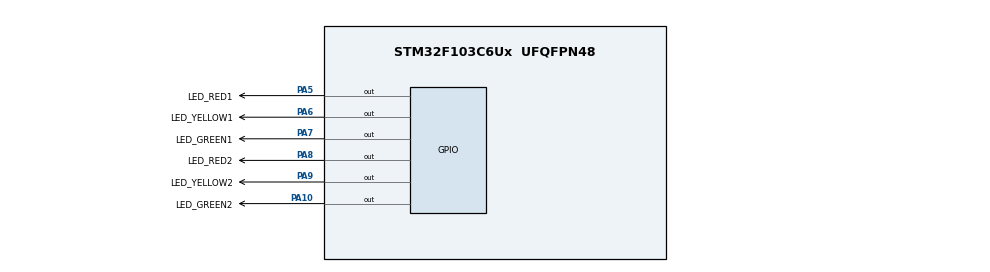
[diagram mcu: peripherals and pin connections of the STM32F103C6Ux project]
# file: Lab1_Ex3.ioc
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Mcu.Family=STM32F1
Mcu.Name=STM32F103C6Ux
Mcu.Package=UFQFPN48
NVIC.PriorityGroup=NVIC_PRIORITYGROUP_4
PA10.GPIO_Label=LED_GREEN2
PA10.PinState=GPIO_PIN_RESET
PA10.Signal=GPIO_Output
PA5.GPIO_Label=LED_RED1
PA5.PinState=GPIO_PIN_RESET
PA5.Signal=GPIO_Output
PA6.GPIO_Label=LED_YELLOW1
PA6.PinState=GPIO_PIN_RESET
PA6.Signal=GPIO_Output
PA7.GPIO_Label=LED_GREEN1
PA7.PinState=GPIO_PIN_RESET
PA7.Signal=GPIO_Output
PA8.GPIO_Label=LED_RED2
PA8.PinState=GPIO_PIN_RESET
PA8.Signal=GPIO_Output
PA9.GPIO_Label=LED_YELLOW2
PA9.PinState=GPIO_PIN_RESET
PA9.Signal=GPIO_Output
ProjectManager.HeapSize=0x200
ProjectManager.StackSize=0x400
ProjectManager.TargetToolchain=STM32CubeIDE
RCC.APB1Freq_Value=8000000
RCC.APB2Freq_Value=8000000
VP_SYS_VS_ND.Mode=No_Debug
board=custom

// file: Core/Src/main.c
/* USER CODE BEGIN Header */
/**
  ******************************************************************************
  * @file           : main.c
  * @brief          : Main program body
  ******************************************************************************
  * @attention
  *
  * <h2><center>&copy; Copyright (c) 2025 STMicroelectronics.
  * All rights reserved.</center></h2>
  *
  * This software component is licensed by ST under BSD 3-Clause license,
  * the "License"; You may not use this file except in compliance with the
  * License. You may obtain a copy of the License at:
  *                        opensource.org/licenses/BSD-3-Clause
  *
  ******************************************************************************
  */
/* USER CODE END Header */
#include "main.h"

void SystemClock_Config(void);
static void MX_GPIO_Init(void);

int main(void)
{

  /* MCU Configuration--------------------------------------------------------*/

  /* Reset of all peripherals, Initializes the Flash interface and the Systick. */
  HAL_Init();

  /* Configure the system clock */
  SystemClock_Config();

  /* Initialize all configured peripherals */
  MX_GPIO_Init();

  /* Infinite loop */
  /* USER CODE BEGIN WHILE */
  while (1)
  {

	  HAL_GPIO_WritePin(LED_RED1_GPIO_Port, LED_RED1_Pin, GPIO_PIN_RESET);
	  HAL_GPIO_WritePin(LED_YELLOW1_GPIO_Port, LED_YELLOW1_Pin, GPIO_PIN_SET);
	  HAL_GPIO_WritePin(LED_GREEN1_GPIO_Port, LED_GREEN1_Pin, GPIO_PIN_SET);
	  HAL_GPIO_WritePin(LED_YELLOW2_GPIO_Port, LED_YELLOW2_Pin, GPIO_PIN_SET);
	  HAL_GPIO_WritePin(LED_RED2_GPIO_Port, LED_RED2_Pin, GPIO_PIN_SET);
	  HAL_GPIO_WritePin(LED_GREEN2_GPIO_Port, LED_GREEN2_Pin, GPIO_PIN_RESET);

	  HAL_Delay(2000);

	  HAL_GPIO_TogglePin(LED_GREEN2_GPIO_Port, LED_GREEN2_Pin);
	  HAL_GPIO_TogglePin(LED_YELLOW2_GPIO_Port, LED_YELLOW2_Pin);

	  HAL_Delay(3000);

	  HAL_GPIO_TogglePin(LED_YELLOW2_GPIO_Port, LED_YELLOW2_Pin);
	  HAL_GPIO_TogglePin(LED_RED1_GPIO_Port, LED_RED1_Pin);
	  HAL_GPIO_TogglePin(LED_RED2_GPIO_Port, LED_RED2_Pin);
	  HAL_GPIO_TogglePin(LED_GREEN1_GPIO_Port, LED_GREEN1_Pin);

	  HAL_Delay(2000);

	  HAL_GPIO_TogglePin(LED_GREEN1_GPIO_Port, LED_GREEN1_Pin);
	  HAL_GPIO_TogglePin(LED_YELLOW1_GPIO_Port, LED_YELLOW1_Pin);

	  HAL_Delay(3000);

    /* USER CODE END WHILE */

  }
}

void SystemClock_Config(void)
{
  RCC_OscInitTypeDef RCC_OscInitStruct = {0};
  RCC_ClkInitTypeDef RCC_ClkInitStruct = {0};

  /** Initializes the RCC Oscillators according to the specified parameters
  * in the RCC_OscInitTypeDef structure.
  */
  RCC_OscInitStruct.OscillatorType = RCC_OSCILLATORTYPE_HSI;
  RCC_OscInitStruct.HSIState = RCC_HSI_ON;
  RCC_OscInitStruct.HSICalibrationValue = RCC_HSICALIBRATION_DEFAULT;
  RCC_OscInitStruct.PLL.PLLState = RCC_PLL_NONE;
  if (HAL_RCC_OscConfig(&RCC_OscInitStruct) != HAL_OK)
  {
    Error_Handler();
  }
  /** Initializes the CPU, AHB and APB buses clocks
  */
  RCC_ClkInitStruct.ClockType = RCC_CLOCKTYPE_HCLK|RCC_CLOCKTYPE_SYSCLK
                              |RCC_CLOCKTYPE_PCLK1|RCC_CLOCKTYPE_PCLK2;
  RCC_ClkInitStruct.SYSCLKSource = RCC_SYSCLKSOURCE_HSI;
  RCC_ClkInitStruct.AHBCLKDivider = RCC_SYSCLK_DIV1;
  RCC_ClkInitStruct.APB1CLKDivider = RCC_HCLK_DIV1;
  RCC_ClkInitStruct.APB2CLKDivider = RCC_HCLK_DIV1;

  if (HAL_RCC_ClockConfig(&RCC_ClkInitStruct, FLASH_LATENCY_0) != HAL_OK)
  {
    Error_Handler();
  }
}

static void MX_GPIO_Init(void)
{
  GPIO_InitTypeDef GPIO_InitStruct = {0};

  /* GPIO Ports Clock Enable */
  __HAL_RCC_GPIOA_CLK_ENABLE();

  /*Configure GPIO pin Output Level */
  HAL_GPIO_WritePin(GPIOA, LED_RED1_Pin|LED_YELLOW1_Pin|LED_GREEN1_Pin|LED_RED2_Pin
                          |LED_YELLOW2_Pin|LED_GREEN2_Pin, GPIO_PIN_RESET);

  /*Configure GPIO pins : LED_RED1_Pin LED_YELLOW1_Pin LED_GREEN1_Pin LED_RED2_Pin
                           LED_YELLOW2_Pin LED_GREEN2_Pin */
  GPIO_InitStruct.Pin = LED_RED1_Pin|LED_YELLOW1_Pin|LED_GREEN1_Pin|LED_RED2_Pin
                          |LED_YELLOW2_Pin|LED_GREEN2_Pin;
  GPIO_InitStruct.Mode = GPIO_MODE_OUTPUT_PP;
  GPIO_InitStruct.Pull = GPIO_NOPULL;
  GPIO_InitStruct.Speed = GPIO_SPEED_FREQ_LOW;
  HAL_GPIO_Init(GPIOA, &GPIO_InitStruct);

}

void Error_Handler(void)
{
  __disable_irq();
  while (1)
  {
  }
}

/************************ (C) COPYRIGHT STMicroelectronics *****END OF FILE****/
